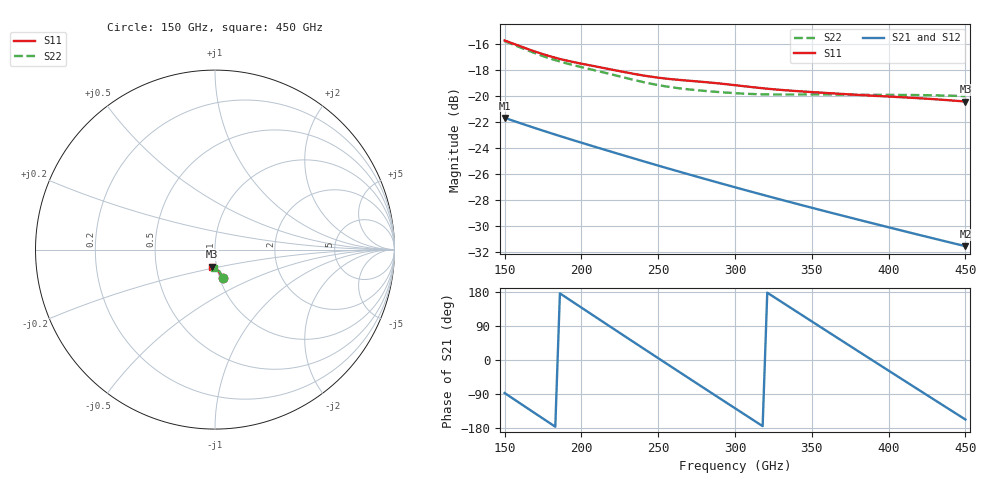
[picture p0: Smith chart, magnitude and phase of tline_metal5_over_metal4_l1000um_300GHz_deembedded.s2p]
! Created with skrf 2.2.0 (http://scikit-rf.org).
# GHz S DB R 50.0
! Port[1] = P1
! Port[2] = P2
!freq dBS11 angS11 dBS21 angS21 dBS12 angS12 dBS22 angS22
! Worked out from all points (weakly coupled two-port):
!   101 points, 150 GHz to 450 GHz, reference 50 ohm
!   highest |S21| = -21.67 dB at 150 GHz (marker M1); lowest = -31.6 dB at 450 GHz (marker M2)
!   lowest |S11| = -20.4 dB at 450 GHz (marker M3), VSWR 1.21, Z = 47.7 - j9.08 ohm
!   |S11| at or under -10 dB: start of sweep to end of sweep
!   |S22| runs from -20.0 to -15.8 dB; largest |S21 - S12| = 7.1e-14
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150  -15.69 -74.5  -21.67 -87.1  -21.67 -87.1  -15.75 -73.5
162  -16.22 -76.1  -22.15 -119.6  -22.15 -119.6  -16.31 -75.1
177  -16.82 -77.2  -22.73 -160.0  -22.73 -160.0  -16.98 -76.4
189  -17.20 -77.9  -23.18 167.8  -23.18 167.8  -17.42 -77.0
201  -17.51 -78.6  -23.62 135.6  -23.62 135.6  -17.78 -77.6
213  -17.78 -79.6  -24.05 103.5  -24.05 103.5  -18.12 -78.4
222  -17.99 -80.3  -24.37 79.4  -24.37 79.4  -18.38 -79.0
237  -18.33 -81.4  -24.90 39.4  -24.90 39.4  -18.82 -79.7
252  -18.59 -82.1  -25.42 -0.5  -25.42 -0.5  -19.18 -79.7
264  -18.74 -82.8  -25.83 -32.3  -25.83 -32.3  -19.39 -79.7
276  -18.86 -83.8  -26.24 -64.0  -26.24 -64.0  -19.54 -79.7
288  -18.99 -85.0  -26.64 -95.7  -26.64 -95.7  -19.66 -79.9
300  -19.14 -86.2  -27.03 -127.3  -27.03 -127.3  -19.76 -80.1
312  -19.31 -87.2  -27.42 -158.8  -27.42 -158.8  -19.83 -80.4
324  -19.45 -88.1  -27.80 169.8  -27.80 169.8  -19.86 -80.8
339  -19.59 -89.2  -28.27 130.5  -28.27 130.5  -19.86 -81.6
351  -19.68 -90.1  -28.64 99.2  -28.64 99.2  -19.86 -82.5
363  -19.77 -91.1  -29.01 68.0  -29.01 68.0  -19.87 -83.5
378  -19.88 -92.4  -29.46 29.0  -29.46 29.0  -19.88 -84.8
402  -20.03 -94.5  -30.18 -33.2  -30.18 -33.2  -19.89 -87.1
426  -20.20 -96.7  -30.89 -95.2  -30.89 -95.2  -19.92 -89.8
450  -20.41 -98.9  -31.58 -157.0  -31.58 -157.0  -19.99 -92.8
